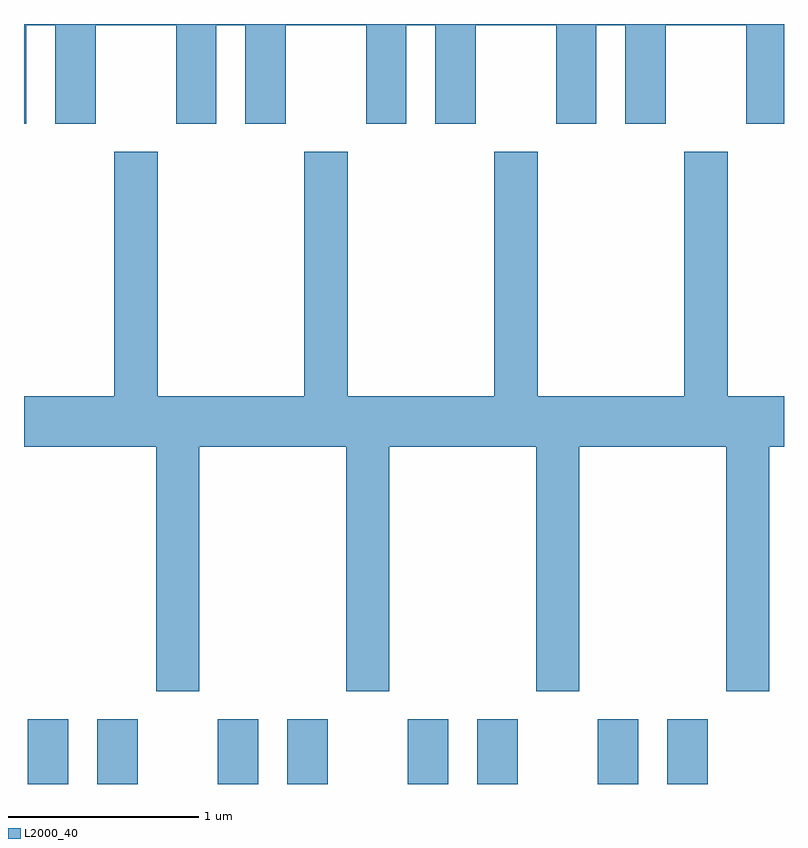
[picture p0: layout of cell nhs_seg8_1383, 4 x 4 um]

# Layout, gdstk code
import gdstk
lib = gdstk.Library(unit=1e-6, precision=1e-09)
def R(c, l, rs):  # rectangles x0, y0, x1, y1
    for r in rs: c.add(gdstk.rectangle(r[:2], r[2:], *l))
def P(c, l, *ps):  # polygons
    for p in ps: c.add(gdstk.Polygon(p, *l))
L2000_40 = (2000, 40)

nhs_seg8_1383 = lib.new_cell('nhs_seg8_1383')
R(nhs_seg8_1383, L2000_40, [(225.631,1912.342,225.844,1912.684), (225.996,1912.342,226.209,1912.684), (226.631,1912.342,226.844,1912.684), (226.996,1912.342,227.209,1912.684), (227.631,1912.342,227.844,1912.684), (227.996,1912.342,228.209,1912.684), (228.631,1912.342,228.844,1912.684), (228.996,1912.342,229.209,1912.684)])
P(nhs_seg8_1383, L2000_40, [(226.411,1915.816),(226.624,1915.816),(226.624,1916.336),(226.776,1916.336),(226.776,1915.816),(226.989,1915.816),(226.989,1916.336),(227.411,1916.336),(227.411,1915.816),(227.624,1915.816),(227.624,1916.336),(227.776,1916.336),(227.776,1915.816),(227.989,1915.816),(227.989,1916.336),(228.411,1916.336),(228.411,1915.816),(228.624,1915.816),(228.624,1916.336),(228.776,1916.336),(228.776,1915.816),(228.989,1915.816),(228.989,1916.336),(229.411,1916.336),(229.411,1915.816),(229.611,1915.816),(229.611,1916.342),(225.611,1916.342),(225.611,1915.816),(225.624,1915.816),(225.624,1916.336),(225.776,1916.336),(225.776,1915.816),(225.989,1915.816),(225.989,1916.336),(226.411,1916.336)],
  [(226.534,1914.116),(227.306,1914.116),(227.306,1912.831),(227.534,1912.831),(227.534,1914.116),(228.306,1914.116),(228.306,1912.831),(228.534,1912.831),(228.534,1914.116),(229.306,1914.116),(229.306,1912.831),(229.534,1912.831),(229.534,1914.116),(229.611,1914.116),(229.611,1914.384),(229.314,1914.384),(229.314,1915.669),(229.086,1915.669),(229.086,1914.384),(228.314,1914.384),(228.314,1915.669),(228.086,1915.669),(228.086,1914.384),(227.314,1914.384),(227.314,1915.669),(227.086,1915.669),(227.086,1914.384),(226.314,1914.384),(226.314,1915.669),(226.086,1915.669),(226.086,1914.384),(225.611,1914.384),(225.611,1914.116),(226.306,1914.116),(226.306,1912.831),(226.534,1912.831)])

lib.write_gds('nhs_seg8_1383.gds')
